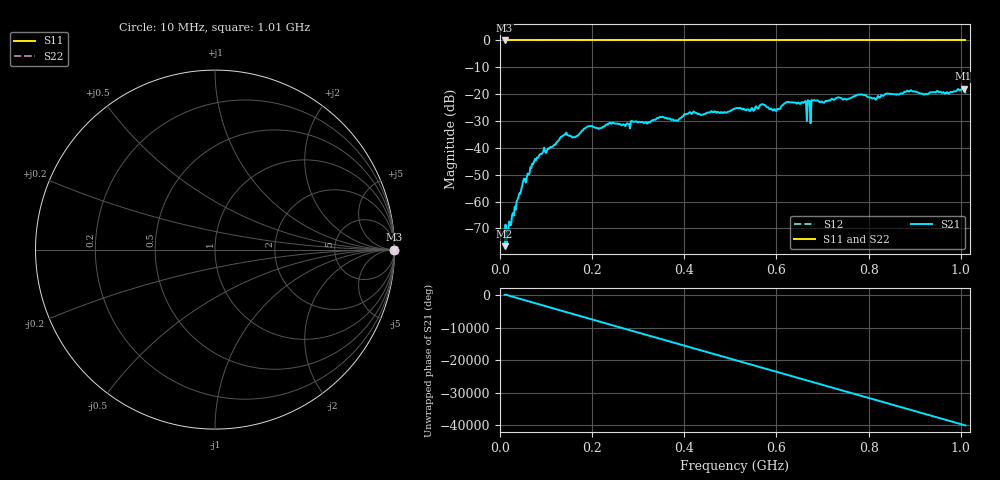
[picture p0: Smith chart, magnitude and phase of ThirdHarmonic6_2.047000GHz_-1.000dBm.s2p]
! 8/17/2025 12:32:50 AM
! C:\ANRITSUVNA\TEMP\TEMP.S2P
! CHANNEL.1
! TR.MEASUREMENT
! RAW.DATA
! RF.CORRECTION.OFF
! AVERAGING.OFF
! IF.BANDWIDTH: 5KHZ
! SWEEPTYPE:  FREQ.SWEEP(Linear)
! Reference Plane Port Info
! PORT:  PORT1  PORT2
! DISTANCE:  0  m  0  m
! TIME:  0  s  0  s
! PHASE.OFFSET:  0  deg.  0  deg.
! LOSS:  0  dB  0  dB
! REF.LOSS:  0  dB  0  dB
! REF.FREQ:  0  Hz  0  Hz
! Power Info
! POWER:  -20  dBm  -20  dBm
! EFF.POWER:  -20  dBm  -20  dBm
! SOURCE.ATTEN:  0  dB  0  dB
! TEST.ATTEN:  0  dB  0  dB
# GHZ S RI R 50.0
! FREQ.GHZ  S11RE  S11IM  S21RE  S21IM  S12RE  S12IM  S22RE  S22IM
!; PortSelection: Port_12
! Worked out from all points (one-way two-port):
!   501 points, 10 MHz to 1.01 GHz, reference 50 ohm
!   highest |S21| = -17.97 dB at 1.006 GHz (marker M1); lowest = -76.6 dB at 10 MHz (marker M2)
!   lowest |S11| = 0.0 dB at 10 MHz (marker M3)
!   |S11| at or under -10 dB: nowhere
!   |S22| runs from 0.0 to 0.0 dB; largest |S21 - S12| = 1.1
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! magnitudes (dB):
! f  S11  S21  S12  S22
! 10 MHz  0.0  -76.6  0.0  0.0
! 50 MHz  0.0  -52.6  0.0  0.0
! 74 MHz  0.0  -45.1  0.0  0.0
! 140 MHz  0.0  -35.0  0.0  0.0
! 160 MHz  0.0  -35.9  0.0  0.0
! 178 MHz  0.0  -33.5  0.0  0.0
! 344 MHz  0.0  -28.9  0.0  0.0
! 382 MHz  0.0  -29.7  0.0  0.0
! 410 MHz  0.0  -27.0  0.0  0.0
! 510 MHz  0.0  -25.3  0.0  0.0
! 570 MHz  0.0  -23.8  0.0  0.0
! 596 MHz  0.0  -25.6  0.0  0.0
! 622 MHz  0.0  -23.0  0.0  0.0
! 660 MHz  0.0  -23.0  0.0  0.0
! 670 MHz  0.0  -22.5  0.0  0.0
! 678 MHz  0.0  -22.2  0.0  0.0
! 680 MHz  0.0  -22.3  0.0  0.0
! 780 MHz  0.0  -20.2  0.0  0.0
! 814 MHz  0.0  -21.8  0.0  0.0
! 844 MHz  0.0  -19.9  0.0  0.0
! 1.006 GHz  0.0  -18.0  0.0  0.0
! 1.01 GHz  0.0  -19.4  0.0  0.0
